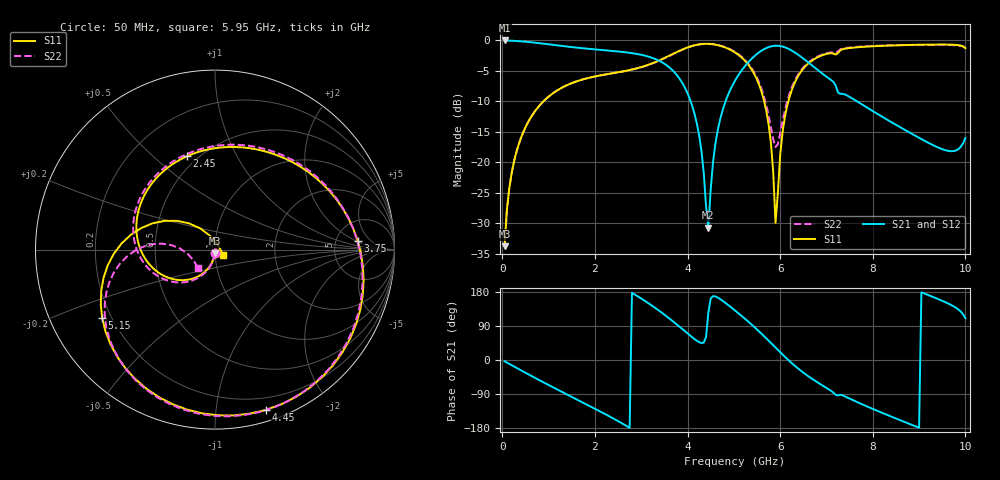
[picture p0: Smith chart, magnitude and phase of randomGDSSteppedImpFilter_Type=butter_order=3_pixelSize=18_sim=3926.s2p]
! freq	dB(S11)	phase(S11)	dB(S12)	phase(S12)
!  dB(S21)	phase(S21)	dB(S22)	phase(S22)
!S-par simulation data
#  GHz  S  DB  R 50
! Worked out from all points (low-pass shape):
!   200 points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, 50 MHz to 10 GHz, reference 50 ohm
!   highest |S21| = -0.01 dB at 50 MHz (marker M1); lowest = -30.8 dB at 4.45 GHz (marker M2)
!   |S21| within 3 dB of the highest: start of sweep to 3.287 GHz; 5.385 GHz to 6.505 GHz (1.12 GHz wide, 18.8 % of centre)
!   lowest |S11| = -33.8 dB at 50 MHz (marker M3), VSWR 1.04, Z = 49.8 - j2.03 ohm
!   |S11| at or under -10 dB: start of sweep to 889.8 MHz; 5.655 GHz to 6.178 GHz (522.9 MHz wide, 8.84 % of centre)
!   |S22| runs from -33.8 to -0.6 dB; largest |S21 - S12| = 0
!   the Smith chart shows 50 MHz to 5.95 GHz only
!   S11 on the Smith chart (normalised r, x): 50 MHz: 1.00, -0.04; 2.45 GHz: 0.44, +0.65; 3.75 GHz: 8.19, +2.25; 4.45 GHz: 0.09, -1.36; 5.15 GHz: 0.16, -0.27; 5.95 GHz: 1.10, -0.07
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0.05  -33.79 -93.3  -0.01 -3.5  -0.01 -3.5  -33.79 -93.0
0.2  -21.88 -104.3  -0.05 -13.6  -0.05 -13.6  -21.88 -103.2
0.5  -14.28 -125.5  -0.21 -33.6  -0.21 -33.6  -14.28 -122.7
1.75  -6.38 152.3  -1.30 -112.7  -1.30 -112.7  -6.38 161.2
2.45  -5.30 106.6  -1.78 -157.9  -1.78 -157.9  -5.31 116.7
3.4  -3.25 35.9  -3.39 128.8  -3.39 128.8  -3.29 39.8
3.75  -1.98 3.6  -5.52 95.6  -5.52 95.6  -2.01 3.9
4.2  -0.72 -44.4  -13.61 50.9  -13.61 50.9  -0.73 -46.8
4.45  -0.56 -72.4  -30.76 125.0  -30.76 125.0  -0.55 -74.7
4.65  -0.77 -94.5  -14.83 164.9  -14.83 164.9  -0.74 -96.0
5.05  -2.10 -137.9  -6.29 128.2  -6.29 128.2  -2.02 -135.3
5.15  -2.68 -148.9  -5.13 118.1  -5.13 118.1  -2.58 -144.6
5.65  -9.84 150.2  -1.45 63.2  -1.45 63.2  -9.19 175.0
5.8  -16.80 125.0  -0.99 45.1  -0.99 45.1  -14.23 178.4
5.9  -29.95 60.9  -0.88 32.8  -0.88 32.8  -17.51 -152.9
5.95  -25.12 -33.2  -0.88 26.7  -0.88 26.7  -17.05 -132.1
6.2  -9.35 -90.1  -1.46 -2.7  -1.46 -2.7  -8.79 -110.2
6.7  -3.25 -143.7  -4.18 -50.5  -4.18 -50.5  -3.11 -143.7
7.4  -1.36 165.8  -8.89 -96.1  -8.89 -96.1  -1.26 176.9
8.35  -0.84 107.6  -13.19 -146.9  -13.19 -146.9  -0.81 130.3
9.2  -0.69 61.3  -16.82 171.3  -16.82 171.3  -0.73 90.0
10  -1.27 15.5  -16.03 110.5  -16.03 110.5  -1.15 46.7
